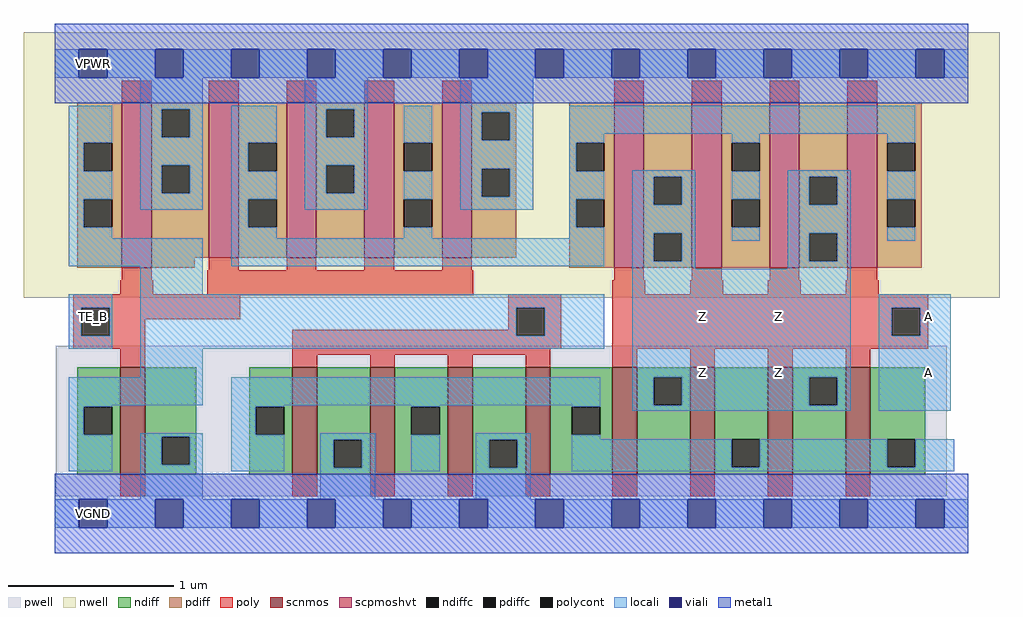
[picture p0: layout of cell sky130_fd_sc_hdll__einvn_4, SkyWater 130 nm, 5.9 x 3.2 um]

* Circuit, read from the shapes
.subckt sky130_fd_sc_hdll__einvn_4 A TE_B VGND VNB VPB VPWR Z
XM1 VGND TE_B n1 VNB sky130_fd_pr__nfet_01v8 w=0.65 l=0.15
XM2 VGND n1 n2 VNB sky130_fd_pr__nfet_01v8 w=0.65 l=0.15 m=4
XM3 Z A n2 VNB sky130_fd_pr__nfet_01v8 w=0.65 l=0.15 m=4
XM4 VPWR TE_B n1 VPB sky130_fd_pr__pfet_01v8_hvt w=1 l=0.18
XM5 n3 TE_B VPWR VPB sky130_fd_pr__pfet_01v8_hvt w=0.94 l=0.18 m=4
XM6 Z A n3 VPB sky130_fd_pr__pfet_01v8_hvt w=1 l=0.18 m=4
.ends

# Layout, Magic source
magic
tech sky130A
magscale 1 2
<< nwell >>
rect -38 261 1142 582
<< pwell >>
rect 1 21 1078 203
rect 30 -17 64 21
<< scnmos >>
rect 79 47 109 177
rect 287 47 317 177
rect 381 47 411 177
rect 475 47 505 177
rect 569 47 599 177
rect 674 47 704 177
rect 768 47 798 177
rect 862 47 892 177
rect 956 47 986 177
<< scpmoshvt >>
rect 81 297 117 497
rect 186 309 222 497
rect 280 309 316 497
rect 374 309 410 497
rect 468 309 504 497
rect 676 297 712 497
rect 770 297 806 497
rect 864 297 900 497
rect 958 297 994 497
<< ndiff >>
rect 27 129 79 177
rect 27 95 35 129
rect 69 95 79 129
rect 27 47 79 95
rect 109 93 171 177
rect 109 59 129 93
rect 163 59 171 93
rect 109 47 171 59
rect 235 129 287 177
rect 235 95 243 129
rect 277 95 287 129
rect 235 47 287 95
rect 317 89 381 177
rect 317 55 337 89
rect 371 55 381 89
rect 317 47 381 55
rect 411 129 475 177
rect 411 95 431 129
rect 465 95 475 129
rect 411 47 475 95
rect 505 89 569 177
rect 505 55 525 89
rect 559 55 569 89
rect 505 47 569 55
rect 599 129 674 177
rect 599 95 625 129
rect 659 95 674 129
rect 599 47 674 95
rect 704 165 768 177
rect 704 131 724 165
rect 758 131 768 165
rect 704 47 768 131
rect 798 90 862 177
rect 798 56 818 90
rect 852 56 862 90
rect 798 47 862 56
rect 892 165 956 177
rect 892 131 912 165
rect 946 131 956 165
rect 892 47 956 131
rect 986 90 1052 177
rect 986 56 1006 90
rect 1040 56 1052 90
rect 986 47 1052 56
<< pdiff >>
rect 27 448 81 497
rect 27 414 35 448
rect 69 414 81 448
rect 27 380 81 414
rect 27 346 35 380
rect 69 346 81 380
rect 27 297 81 346
rect 117 489 186 497
rect 117 455 129 489
rect 163 455 186 489
rect 117 421 186 455
rect 117 387 129 421
rect 163 387 186 421
rect 117 309 186 387
rect 222 448 280 497
rect 222 414 234 448
rect 268 414 280 448
rect 222 380 280 414
rect 222 346 234 380
rect 268 346 280 380
rect 222 309 280 346
rect 316 489 374 497
rect 316 455 328 489
rect 362 455 374 489
rect 316 421 374 455
rect 316 387 328 421
rect 362 387 374 421
rect 316 309 374 387
rect 410 448 468 497
rect 410 414 422 448
rect 456 414 468 448
rect 410 380 468 414
rect 410 346 422 380
rect 456 346 468 380
rect 410 309 468 346
rect 504 485 558 497
rect 504 451 516 485
rect 550 451 558 485
rect 504 417 558 451
rect 504 383 516 417
rect 550 383 558 417
rect 504 309 558 383
rect 622 448 676 497
rect 622 414 630 448
rect 664 414 676 448
rect 622 380 676 414
rect 622 346 630 380
rect 664 346 676 380
rect 117 297 169 309
rect 622 297 676 346
rect 712 407 770 497
rect 712 373 724 407
rect 758 373 770 407
rect 712 339 770 373
rect 712 305 724 339
rect 758 305 770 339
rect 712 297 770 305
rect 806 448 864 497
rect 806 414 818 448
rect 852 414 864 448
rect 806 380 864 414
rect 806 346 818 380
rect 852 346 864 380
rect 806 297 864 346
rect 900 407 958 497
rect 900 373 912 407
rect 946 373 958 407
rect 900 339 958 373
rect 900 305 912 339
rect 946 305 958 339
rect 900 297 958 305
rect 994 448 1048 497
rect 994 414 1006 448
rect 1040 414 1048 448
rect 994 380 1048 414
rect 994 346 1006 380
rect 1040 346 1048 380
rect 994 297 1048 346
<< ndiffc >>
rect 35 95 69 129
rect 129 59 163 93
rect 243 95 277 129
rect 337 55 371 89
rect 431 95 465 129
rect 525 55 559 89
rect 625 95 659 129
rect 724 131 758 165
rect 818 56 852 90
rect 912 131 946 165
rect 1006 56 1040 90
<< pdiffc >>
rect 35 414 69 448
rect 35 346 69 380
rect 129 455 163 489
rect 129 387 163 421
rect 234 414 268 448
rect 234 346 268 380
rect 328 455 362 489
rect 328 387 362 421
rect 422 414 456 448
rect 422 346 456 380
rect 516 451 550 485
rect 516 383 550 417
rect 630 414 664 448
rect 630 346 664 380
rect 724 373 758 407
rect 724 305 758 339
rect 818 414 852 448
rect 818 346 852 380
rect 912 373 946 407
rect 912 305 946 339
rect 1006 414 1040 448
rect 1006 346 1040 380
<< poly >>
rect 81 497 117 523
rect 186 497 222 523
rect 280 497 316 523
rect 374 497 410 523
rect 468 497 504 523
rect 676 497 712 523
rect 770 497 806 523
rect 864 497 900 523
rect 958 497 994 523
rect 81 282 117 297
rect 186 294 222 309
rect 280 294 316 309
rect 374 294 410 309
rect 468 294 504 309
rect 79 265 119 282
rect 184 265 506 294
rect 676 282 712 297
rect 770 282 806 297
rect 864 282 900 297
rect 958 282 994 297
rect 674 265 714 282
rect 768 265 808 282
rect 862 265 902 282
rect 956 265 996 282
rect 22 264 506 265
rect 22 249 224 264
rect 22 215 32 249
rect 66 235 224 249
rect 548 249 612 265
rect 66 215 109 235
rect 548 222 558 249
rect 22 199 109 215
rect 79 177 109 199
rect 287 215 558 222
rect 592 215 612 249
rect 287 199 612 215
rect 674 249 1056 265
rect 674 215 1012 249
rect 1046 215 1056 249
rect 674 199 1056 215
rect 287 192 599 199
rect 287 177 317 192
rect 381 177 411 192
rect 475 177 505 192
rect 569 177 599 192
rect 674 177 704 199
rect 768 177 798 199
rect 862 177 892 199
rect 956 177 986 199
rect 79 21 109 47
rect 287 21 317 47
rect 381 21 411 47
rect 475 21 505 47
rect 569 21 599 47
rect 674 21 704 47
rect 768 21 798 47
rect 862 21 892 47
rect 956 21 986 47
<< polycont >>
rect 32 215 66 249
rect 558 215 592 249
rect 1012 215 1046 249
<< locali >>
rect 0 527 29 561
rect 63 527 121 561
rect 155 527 213 561
rect 247 527 305 561
rect 339 527 397 561
rect 431 527 489 561
rect 523 527 581 561
rect 615 527 673 561
rect 707 527 765 561
rect 799 527 857 561
rect 891 527 949 561
rect 983 527 1041 561
rect 1075 527 1104 561
rect 17 448 69 493
rect 17 414 35 448
rect 17 380 69 414
rect 17 346 35 380
rect 103 489 179 527
rect 103 455 129 489
rect 163 455 179 489
rect 103 421 179 455
rect 103 387 129 421
rect 163 387 179 421
rect 103 367 179 387
rect 213 448 268 493
rect 213 414 234 448
rect 213 380 268 414
rect 17 333 69 346
rect 213 346 234 380
rect 302 489 378 527
rect 302 455 328 489
rect 362 455 378 489
rect 302 421 378 455
rect 302 387 328 421
rect 362 387 378 421
rect 302 367 378 387
rect 422 448 456 493
rect 422 380 456 414
rect 213 333 268 346
rect 490 485 578 527
rect 490 451 516 485
rect 550 451 578 485
rect 490 417 578 451
rect 490 383 516 417
rect 550 383 578 417
rect 490 367 578 383
rect 622 459 1040 493
rect 622 448 664 459
rect 622 414 630 448
rect 818 448 852 459
rect 622 380 664 414
rect 422 333 456 346
rect 622 346 630 380
rect 622 333 664 346
rect 17 299 179 333
rect 213 299 664 333
rect 698 407 774 415
rect 698 373 724 407
rect 758 373 774 407
rect 698 339 774 373
rect 698 305 724 339
rect 758 305 774 339
rect 1006 448 1040 459
rect 818 380 852 414
rect 818 330 852 346
rect 886 407 962 415
rect 886 373 912 407
rect 946 373 962 407
rect 886 339 962 373
rect 103 265 179 299
rect 698 296 774 305
rect 886 305 912 339
rect 946 305 962 339
rect 1006 380 1040 414
rect 1006 330 1040 346
rect 886 296 962 305
rect 17 249 69 265
rect 17 215 32 249
rect 66 215 69 249
rect 17 199 69 215
rect 103 249 664 265
rect 103 215 558 249
rect 592 215 664 249
rect 103 199 664 215
rect 103 165 179 199
rect 698 165 962 296
rect 17 131 179 165
rect 213 131 659 165
rect 17 129 69 131
rect 17 95 35 129
rect 213 129 277 131
rect 17 51 69 95
rect 103 93 179 97
rect 103 59 129 93
rect 163 59 179 93
rect 103 17 179 59
rect 213 95 243 129
rect 431 129 465 131
rect 213 51 277 95
rect 321 89 387 97
rect 321 55 337 89
rect 371 55 387 89
rect 321 17 387 55
rect 625 129 659 131
rect 431 51 465 95
rect 509 89 575 97
rect 509 55 525 89
rect 559 55 575 89
rect 509 17 575 55
rect 698 131 724 165
rect 758 131 912 165
rect 946 131 962 165
rect 698 124 962 131
rect 996 249 1083 265
rect 996 215 1012 249
rect 1046 215 1083 249
rect 996 124 1083 215
rect 625 90 659 95
rect 625 56 818 90
rect 852 56 1006 90
rect 1040 56 1087 90
rect 625 51 1087 56
rect 0 -17 29 17
rect 63 -17 121 17
rect 155 -17 213 17
rect 247 -17 305 17
rect 339 -17 397 17
rect 431 -17 489 17
rect 523 -17 581 17
rect 615 -17 673 17
rect 707 -17 765 17
rect 799 -17 857 17
rect 891 -17 949 17
rect 983 -17 1041 17
rect 1075 -17 1104 17
<< viali >>
rect 29 527 63 561
rect 121 527 155 561
rect 213 527 247 561
rect 305 527 339 561
rect 397 527 431 561
rect 489 527 523 561
rect 581 527 615 561
rect 673 527 707 561
rect 765 527 799 561
rect 857 527 891 561
rect 949 527 983 561
rect 1041 527 1075 561
rect 29 -17 63 17
rect 121 -17 155 17
rect 213 -17 247 17
rect 305 -17 339 17
rect 397 -17 431 17
rect 489 -17 523 17
rect 581 -17 615 17
rect 673 -17 707 17
rect 765 -17 799 17
rect 857 -17 891 17
rect 949 -17 983 17
rect 1041 -17 1075 17
<< metal1 >>
rect 0 561 1104 592
rect 0 527 29 561
rect 63 527 121 561
rect 155 527 213 561
rect 247 527 305 561
rect 339 527 397 561
rect 431 527 489 561
rect 523 527 581 561
rect 615 527 673 561
rect 707 527 765 561
rect 799 527 857 561
rect 891 527 949 561
rect 983 527 1041 561
rect 1075 527 1104 561
rect 0 496 1104 527
rect 0 17 1104 48
rect 0 -17 29 17
rect 63 -17 121 17
rect 155 -17 213 17
rect 247 -17 305 17
rect 339 -17 397 17
rect 431 -17 489 17
rect 523 -17 581 17
rect 615 -17 673 17
rect 707 -17 765 17
rect 799 -17 857 17
rect 891 -17 949 17
rect 983 -17 1041 17
rect 1075 -17 1104 17
rect 0 -48 1104 -17
<< labels >>
flabel locali s 30 221 64 255 0 FreeSans 200 0 0 0 TE_B
port 2 nsew signal input
flabel locali s 858 153 892 187 0 FreeSans 200 0 0 0 Z
port 7 nsew signal output
flabel locali s 858 221 892 255 0 FreeSans 200 0 0 0 Z
port 7 nsew signal output
flabel locali s 766 221 800 255 0 FreeSans 200 0 0 0 Z
port 7 nsew signal output
flabel locali s 766 153 800 187 0 FreeSans 200 0 0 0 Z
port 7 nsew signal output
flabel locali s 1039 153 1073 187 0 FreeSans 200 0 0 0 A
port 1 nsew signal input
flabel locali s 1039 221 1073 255 0 FreeSans 200 0 0 0 A
port 1 nsew signal input
flabel metal1 s 30 -17 64 17 0 FreeSans 200 0 0 0 VGND
port 3 nsew ground bidirectional
flabel metal1 s 30 527 64 561 0 FreeSans 200 0 0 0 VPWR
port 6 nsew power bidirectional
flabel nwell s 30 527 64 561 0 FreeSans 200 0 0 0 VPB
port 5 nsew power bidirectional
flabel pwell s 30 -17 64 17 0 FreeSans 200 0 0 0 VNB
port 4 nsew ground bidirectional
rlabel comment s 0 0 0 0 4 einvn_4
<< properties >>
string LEFsite unithd
string LEFclass CORE
string FIXED_BBOX 0 0 1104 544
string GDS_FILE $PDKPATH/libs.ref/sky130_fd_sc_hdll/gds/sky130_fd_sc_hdll.gds
string LEFsymmetry X Y R90
string GDS_END 2047168
string GDS_START 2039038
string LEFproperties maskLayoutSubType "abstract" prCellType "standard" originalViewName "layout"
<< end >>
